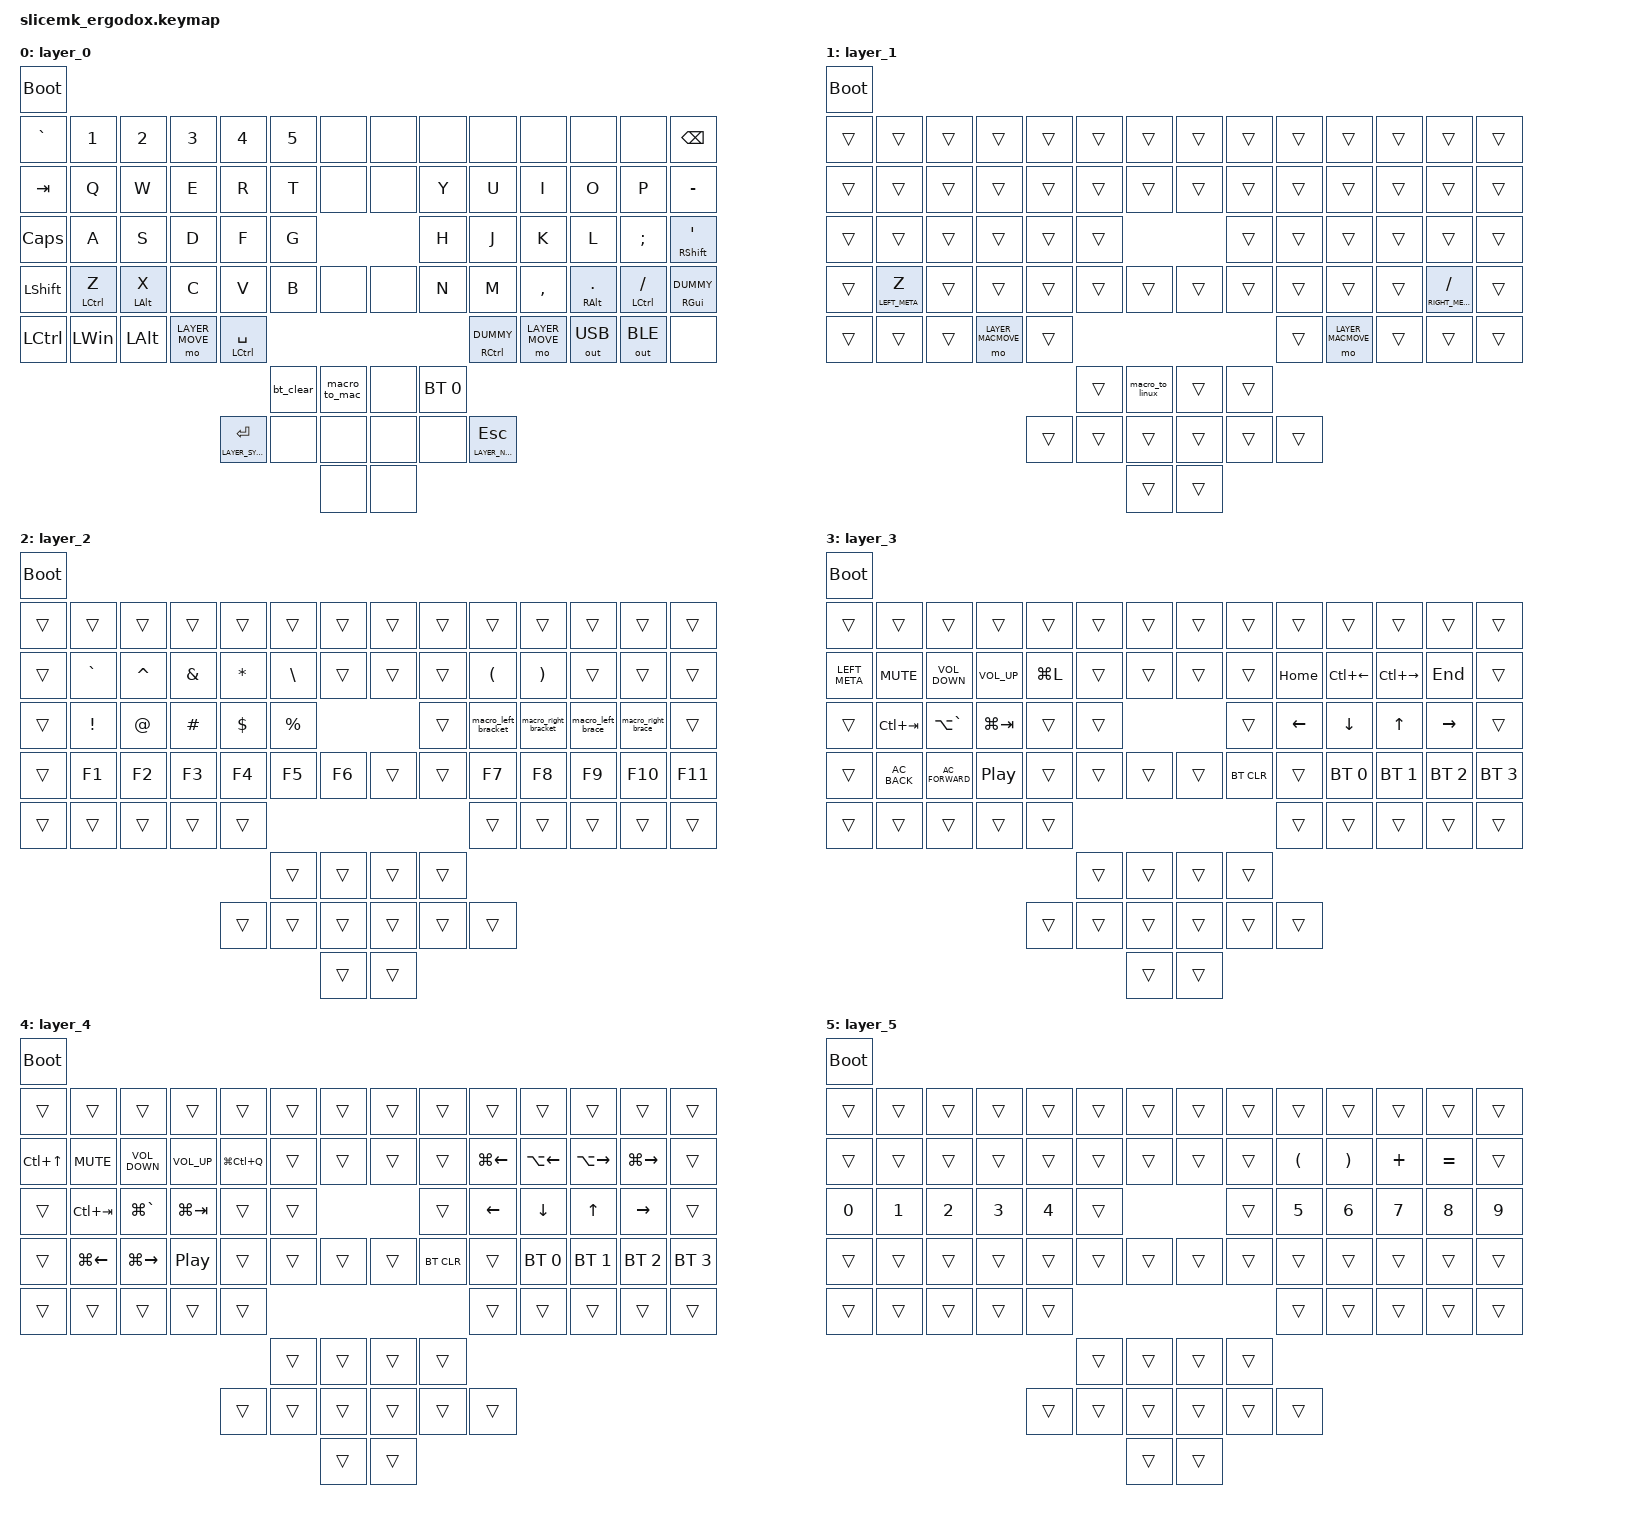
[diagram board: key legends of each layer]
#include <behaviors.dtsi>
#include <dt-bindings/zmk/bt.h>
#include <dt-bindings/zmk/keys.h>
#include <dt-bindings/zmk/outputs.h>

#define LAYER_MAIN 0
#define LAYER_MAC 1
#define LAYER_SYMBOLS 2
#define LAYER_MOVE 3
#define LAYER_MACMOVE 4
#define LAYER_NUMBERS 5
#define DUMMY 0

//    ┌─────┐                                                                                  
//    │     │                                                                                  
//    ├─────┼─────┬─────┬─────┬─────┬─────┬─────┐   ┌─────┬─────┬─────┬─────┬─────┬─────┬─────┐
//    │  1  │  2  │  3  │  4  │  5  │  6  │  7  │   │  8  │  9  │  10 │  11 │  12 │  13 │  14 │
//    ├─────┼─────┼─────┼─────┼─────┼─────┼─────┤   ├─────┼─────┼─────┼─────┼─────┼─────┼─────┤
//    │  15 │  16 │  17 │  18 │  19 │  20 │  21 │   │  22 │  23 │  24 │  25 │  26 │  27 │  28 │
//    ├─────┼─────┼─────┼─────┼─────┼─────┼─────┘   └─────┼─────┼─────┼─────┼─────┼─────┼─────┤
//    │  29 │  30 │  31 │  32 │  33 │  34 │               │  35 │  36 │  37 │  38 │  39 │  40 │
//    ├─────┼─────┼─────┼─────┼─────┼─────┼─────┐   ┌─────┼─────┼─────┼─────┼─────┼─────┼─────┤
//    │  41 │  42 │  43 │  44 │  45 │  46 │  47 │   │  48 │  49 │  50 │  51 │  52 │  53 │  54 │
//    ├─────┼─────┼─────┼─────┼─────┼─────┴─────┘   └─────┴─────┼─────┼─────┼─────┼─────┼─────┤
//    │  55 │  56 │  57 │  58 │  59 │                           │  60 │  61 │  62 │  63 │  64 │
//    └─────┴─────┴─────┴─────┴─────┼─────┬─────┐   ┌─────┬─────┼─────┴─────┴─────┴─────┴─────┘
//                                  │  65 │  66 │   │  67 │  68 │                              
//                            ┌─────┼─────┼─────┤   ├─────┼─────┼─────┐                        
//                            │  69 │  70 │  71 │   │  72 │  73 │  74 │                        
//                            └─────┴─────┼─────┤   ├─────┼─────┴─────┘                        
//                                        │  75 │   │  76 │                                    
//                                        └─────┘   └─────┘                                    

&lt {
    flavor = "balanced";
    tapping_term_ms = <220>;
};

&sl { /delete-property/ quick-release; };

/ {
    macros {
        // I introduced these for a reason but I can't remember why. They were for when I had dedicated keys for braces/brackets.

        ZMK_MACRO(macro_right_brace,

        wait-ms = <0>;
        tap-ms = <0>;
        bindings = <&macro_tap &kp RIGHT_BRACE>;

        )
		ZMK_MACRO(

        macro_left_brace,
        wait-ms = <0>;
        tap-ms = <0>;
        bindings = <&macro_tap &kp LEFT_BRACE>;

        )
		ZMK_MACRO(

        macro_right_bracket,
        wait-ms = <0>;
        tap-ms = <0>;
        bindings = <&macro_tap &kp RIGHT_BRACKET>;

        )
		ZMK_MACRO(

        macro_left_bracket,
        wait-ms = <0>;
        tap-ms = <0>;
        bindings = <&macro_tap &kp LEFT_BRACKET>;

        )

		ZMK_MACRO(

        macro_to_mac,
        wait-ms = <0>;
        tap-ms = <5>;
        bindings = <&to LAYER_MAC &rgb_ug RGB_COLOR_HSB(128,100,100) &rgb_ug RGB_TOG &bl BL_TOG>;

        )
		ZMK_MACRO(

        macro_to_linux,
        wait-ms = <0>;
        tap-ms = <5>;
        bindings = <&to LAYER_MAIN &rgb_ug RGB_TOG &bl BL_TOG>;

        )
		ZMK_MACRO1(

        macro_left_shift_hold,
        wait-ms = <0>;
        tap-ms = <0>;
        bindings =
            <&macro_tap &sk LSHIFT>,
            <&macro_param_1to1>,
            <&macro_press &kp MACRO_PLACEHOLDER>,
            <&macro_pause_for_release>,
            <&macro_param_1to1>,
            <&macro_release &kp MACRO_PLACEHOLDER>;

        )
		ZMK_MACRO1(

        macro_num_hold,
        wait-ms = <0>;
        tap-ms = <0>;
        bindings =
            <&macro_tap &sl LAYER_NUMBERS>,
            <&macro_param_1to1>,
            <&macro_press &kp MACRO_PLACEHOLDER>,
            <&macro_pause_for_release>,
            <&macro_param_1to1>,
            <&macro_release &kp MACRO_PLACEHOLDER>;

        )
		ZMK_MACRO1(

        macro_sym_hold,
        wait-ms = <0>;
        tap-ms = <0>;
        bindings =
            <&macro_tap &sl LAYER_SYMBOLS>,
            <&macro_param_1to1>,
            <&macro_press &kp MACRO_PLACEHOLDER>,
            <&macro_pause_for_release>,
            <&macro_param_1to1>,
            <&macro_release &kp MACRO_PLACEHOLDER>;

        )
    };

    behaviors {
        bt_clear: bt_clear {
            compatible = "zmk,behavior-tap-dance";
            label = "BT_CLEAR";
            tapping-term-ms = <200>;
            #binding-cells = <0>;
            bindings = <&none>, <&none>, <&bt BT_CLR>;
        };

        bspc_del: backspace_delete {
            compatible = "zmk,behavior-mod-morph";
            label = "BACKSPACE_DELETE";
            #binding-cells = <0>;
            bindings = <&kp BACKSPACE>, <&kp DELETE>;

            mods = <(MOD_LSFT|MOD_RSFT)>;
        };

        // You cannot directly use a behavior with &lt so we need to express it as a new behavior.

        lt_bspc: layer_tap_bspc_del {
            compatible = "zmk,behavior-hold-tap";
            label = "LAYER_TAP_BACKSPACE_DELETE";

            // hold-tap requires two parameters no matter what behaviors you intend for them to trigger
            // so when you bind this you'll need a dummy placeholder for the second binding cell

            #binding-cells = <2>;
            bindings = <&mo>, <&bspc_del>;

            tapping-term-ms = <200>;
        };

        caps_tap: caps_tap {
            compatible = "zmk,behavior-hold-tap";
            label = "CAPS_TAP";

            // hold-tap requires two parameters no matter what behaviors you intend for them to trigger
            // so when you bind this you'll need a dummy placeholder for the second binding cell

            #binding-cells = <2>;
            bindings = <&kp>, <&caps_word>;

            tapping-term-ms = <200>;
            flavor = "tap-preferred";
        };

        hm: homerow_mods {
            compatible = "zmk,behavior-hold-tap";
            #binding-cells = <2>;
            label = "HOMEROW_MOD";
            tapping-term-ms = <200>;
            quick-tap-ms = <200>;

            // require-prior-idle-ms = <125>; need to upgrade version

            flavor = "tap-preferred";
            bindings = <&kp>, <&kp>;
        };

        mod_or_del: mod_or_del {
            compatible = "zmk,behavior-hold-tap";
            #binding-cells = <2>;
            label = "MOD_OR_DELETE";
            tapping-term-ms = <200>;
            quick-tap-ms = <200>;

            // require-prior-idle-ms = <125>; need to upgrade version

            flavor = "tap-preferred";
            bindings = <&kp>, <&bspc_del>;
        };

        om: outer_mods {
            compatible = "zmk,behavior-hold-tap";
            #binding-cells = <2>;
            label = "OUTER_MOD";
            tapping-term-ms = <200>;
            quick-tap-ms = <200>;

            // require-prior-idle-ms = <125>; need to upgrade version

            flavor = "balanced";
            bindings = <&kp>, <&kp>;
        };

        ctrl_or_shift: control_or_shift {
            compatible = "zmk,behavior-tap-dance";
            #binding-cells = <0>;
            label = "CONTROL_OR_SHIFT";
            tapping-term-ms = <250>;
            bindings = <&kp LEFT_SHIFT>, <&kp LEFT_CONTROL>, <&none>;
        };

        right_ctrl: right_control {
            compatible = "zmk,behavior-tap-dance";
            #binding-cells = <0>;
            label = "RIGHT_CONTROL";
            tapping-term-ms = <200>;
            bindings =
                <&macro_left_shift_hold LEFT_SHIFT>,
                <&kp RIGHT_CONTROL>,
                <&none>;
        };

        ht_in_td: hold_tap_in_tap_dance {
            compatible = "zmk,behavior-hold-tap";
            #binding-cells = <2>;
            label = "HOLD_TAP_IN_TAP_DANCE";
            tapping-term-ms = <1>; // The tap dance should provide the time needed to press both keys
            flavor = "hold-preferred";
            bindings = <&kp>, <&kp>;
        };
    };

    combo {
        compatible = "zmk,combos";

        // This combination of macro_left_shift_hold and partial_hold_position requires that the parameter
        // for partial_hold_position must be the key that you're actually holding down so that the partial hold is actually released when you let go of that key. 

        combo_apost {
            timeout-ms = <50>;
            key-positions = <29 40>;
            bindings =
                <&macro_left_shift_hold APOSTROPHE>,
                <&partial_hold_position 29>;
        };

        combo_Q {
            timeout-ms = <50>;
            key-positions = <16 40>;
            bindings = <&macro_left_shift_hold Q>; // Add the wait to prevent triggering the apostrophe
        };

        combo_W {
            timeout-ms = <50>;
            key-positions = <17 40>;
            bindings = <&macro_left_shift_hold W>;
        };

        combo_E {
            timeout-ms = <50>;
            key-positions = <18 40>;
            bindings = <&macro_left_shift_hold E>;
        };

        combo_R {
            timeout-ms = <50>;
            key-positions = <19 40>;
            bindings = <&macro_left_shift_hold R>;
        };

        combo_T {
            timeout-ms = <50>;
            key-positions = <20 40>;
            bindings = <&macro_left_shift_hold T>;
        };

        combo_Y {
            timeout-ms = <50>;
            key-positions = <23 29>;
            bindings = <&macro_left_shift_hold Y>, <&partial_hold_position 29>;
        };

        combo_U {
            timeout-ms = <50>;
            key-positions = <24 29>;
            bindings = <&macro_left_shift_hold U>, <&partial_hold_position 29>;
        };

        combo_I {
            timeout-ms = <50>;
            key-positions = <25 29>;
            bindings = <&macro_left_shift_hold I>, <&partial_hold_position 29>;
        };

        combo_O {
            timeout-ms = <50>;
            key-positions = <26 29>;
            bindings = <&macro_left_shift_hold O>, <&partial_hold_position 29>;
        };

        combo_P {
            timeout-ms = <50>;
            key-positions = <27 29>;
            bindings = <&macro_left_shift_hold P>, <&partial_hold_position 29>;
        };

        // I use the left shift with the partial_hold_position since the right shift will trigger an apostrophe.

        combo_A {
            timeout-ms = <50>;
            key-positions = <30 40>;
            bindings = <&macro_left_shift_hold A>;
        };

        combo_S {
            timeout-ms = <50>;
            key-positions = <40 31>;
            bindings = <&macro_left_shift_hold S>;
        };

        combo_D {
            timeout-ms = <50>;
            key-positions = <40 32>;
            bindings = <&macro_left_shift_hold D>;
        };

        combo_F {
            timeout-ms = <50>;
            key-positions = <40 33>;
            bindings = <&macro_left_shift_hold F>;
        };

        combo_G {
            timeout-ms = <50>;
            key-positions = <40 34>;
            bindings = <&macro_left_shift_hold G>;
        };

        combo_Enter {
            timeout-ms = <50>;
            key-positions = <40 69>;
            bindings = <&macro_left_shift_hold ENTER>;
        };

        combo_colon {
            timeout-ms = <50>;
            key-positions = <40 39>;
            bindings = <&kp LS(SEMICOLON)>;
        };

        combo_H {
            timeout-ms = <50>;
            key-positions = <29 35>;
            bindings = <&macro_left_shift_hold H>, <&partial_hold_position 29>;
        };

        combo_J {
            timeout-ms = <50>;
            key-positions = <29 36>;
            bindings = <&macro_left_shift_hold J>, <&partial_hold_position 29>;
        };

        combo_K {
            timeout-ms = <50>;
            key-positions = <29 37>;
            bindings = <&macro_left_shift_hold K>, <&partial_hold_position 29>;
        };

        combo_L {
            timeout-ms = <50>;
            key-positions = <29 38>;
            bindings = <&macro_left_shift_hold L>, <&partial_hold_position 29>;
        };

        combo_Z {
            timeout-ms = <50>;
            key-positions = <40 42>;
            bindings = <&macro_left_shift_hold Z>;
        };

        combo_X {
            timeout-ms = <50>;
            key-positions = <40 43>;
            bindings = <&macro_left_shift_hold X>;
        };

        combo_C {
            timeout-ms = <50>;
            key-positions = <40 44>;
            bindings = <&macro_left_shift_hold C>;
        };

        combo_V {
            timeout-ms = <50>;
            key-positions = <40 45>;
            bindings = <&macro_left_shift_hold V>;
        };

        combo_B {
            timeout-ms = <50>;
            key-positions = <40 46>;
            bindings = <&macro_left_shift_hold B>;
        };

        combo_N {
            timeout-ms = <50>;
            key-positions = <29 49>;
            bindings = <&macro_left_shift_hold N>, <&partial_hold_position 29>;
        };

        combo_M {
            timeout-ms = <50>;
            key-positions = <29 50>;
            bindings = <&macro_left_shift_hold M>, <&partial_hold_position 29>;
        };

        combo_less_than {
            timeout-ms = <50>;
            key-positions = <29 51>;
            bindings = <&macro_left_shift_hold LT>, <&partial_hold_position 29>;
        };

        combo_greater_than {
            timeout-ms = <50>;
            key-positions = <29 52>;
            bindings = <&macro_left_shift_hold GT>, <&partial_hold_position 29>;
        };

        combo_lparen {
            timeout-ms = <50>;
            key-positions = <24 74>;
            bindings =
                <&macro_num_hold LPAR>,
                <&partial_hold_position 74 &mo LAYER_NUMBERS>;
        };

        combo_rparen {
            timeout-ms = <50>;
            key-positions = <25 74>;
            bindings =
                <&macro_num_hold RPAR>,
                <&partial_hold_position 74 &mo LAYER_NUMBERS>;
        };

        combo_lparen2 {
            timeout-ms = <50>;
            key-positions = <24 69>;
            bindings =
                <&macro_num_hold LPAR>,
                <&partial_hold_position 69 &mo LAYER_NUMBERS>;
        };

        combo_rparen2 {
            timeout-ms = <50>;
            key-positions = <25 69>;
            bindings =
                <&macro_num_hold RPAR>,
                <&partial_hold_position 69 &mo LAYER_NUMBERS>;
        };

        combo_lbracket {
            timeout-ms = <50>;
            key-positions = <36 69>;
            bindings =
                <&macro_sym_hold LBKT>,
                <&partial_hold_position 69 &mo LAYER_SYMBOLS>;
        };

        combo_rbracket {
            timeout-ms = <50>;
            key-positions = <37 69>;
            bindings =
                <&macro_sym_hold RBKT>,
                <&partial_hold_position 69 &mo LAYER_SYMBOLS>;
        };

        combo_lbrace {
            timeout-ms = <50>;
            key-positions = <38 69>;
            bindings =
                <&macro_sym_hold LBRC>,
                <&partial_hold_position 69 &mo LAYER_SYMBOLS>;
        };

        combo_rbrace {
            timeout-ms = <50>;
            key-positions = <39 69>;
            bindings =
                <&macro_sym_hold RBRC>,
                <&partial_hold_position 69 &mo LAYER_SYMBOLS>;
        };

        combo_0 {
            timeout-ms = <50>;
            key-positions = <29 74>;
            bindings =
                <&macro_num_hold NUMBER_0>,
                <&partial_hold_position 74 &mo LAYER_NUMBERS>;
        };

        combo_1 {
            timeout-ms = <50>;
            key-positions = <30 74>;
            bindings =
                <&macro_num_hold NUMBER_1>,
                <&partial_hold_position 74 &mo LAYER_NUMBERS>;
        };

        combo_2 {
            timeout-ms = <50>;
            key-positions = <31 74>;
            bindings =
                <&macro_num_hold NUMBER_2>,
                <&partial_hold_position 74 &mo LAYER_NUMBERS>;
        };

        combo_3 {
            timeout-ms = <50>;
            key-positions = <32 74>;
            bindings =
                <&macro_num_hold NUMBER_3>,
                <&partial_hold_position 74 &mo LAYER_NUMBERS>;
        };

        combo_4 {
            timeout-ms = <50>;
            key-positions = <33 74>;
            bindings =
                <&macro_num_hold NUMBER_4>,
                <&partial_hold_position 74 &mo LAYER_NUMBERS>;
        };

        combo_5 {
            timeout-ms = <50>;
            key-positions = <36 74>;
            bindings =
                <&macro_num_hold NUMBER_5>,
                <&partial_hold_position 74 &mo LAYER_NUMBERS>;
        };

        combo_6 {
            timeout-ms = <50>;
            key-positions = <37 74>;
            bindings =
                <&macro_num_hold NUMBER_6>,
                <&partial_hold_position 74 &mo LAYER_NUMBERS>;
        };

        combo_7 {
            timeout-ms = <50>;
            key-positions = <38 74>;
            bindings =
                <&macro_num_hold NUMBER_7>,
                <&partial_hold_position 74 &mo LAYER_NUMBERS>;
        };

        combo_8 {
            timeout-ms = <50>;
            key-positions = <39 74>;
            bindings =
                <&macro_num_hold NUMBER_8>,
                <&partial_hold_position 74 &mo LAYER_NUMBERS>;
        };

        combo_9 {
            timeout-ms = <50>;
            key-positions = <40 74>;
            bindings =
                <&macro_num_hold NUMBER_9>,
                <&partial_hold_position 74 &mo LAYER_NUMBERS>;
        };

        combo_minus {
            timeout-ms = <50>;
            key-positions = <29 28>;
            bindings =
                <&macro_left_shift_hold MINUS>,
                <&partial_hold_position 29>;
        };

        combo_plus {
            timeout-ms = <50>;
            key-positions = <26 74>;
            bindings =
                <&macro_num_hold PLUS>,
                <&partial_hold_position 74 &mo LAYER_NUMBERS>;
        };

        combo_equal {
            timeout-ms = <50>;
            key-positions = <27 74>;
            bindings =
                <&macro_num_hold EQUAL>,
                <&partial_hold_position 74 &mo LAYER_NUMBERS>;
        };

        combo_exclam {
            timeout-ms = <50>;
            key-positions = <30 69>;
            bindings =
                <&kp EXCLAMATION>,
                <&partial_hold_position 69 &mo LAYER_SYMBOLS>;
        };

        combo_at {
            timeout-ms = <50>;
            key-positions = <31 69>;
            bindings = <&kp AT>, <&partial_hold_position 69 &mo LAYER_SYMBOLS>;
        };

        combo_pound {
            timeout-ms = <50>;
            key-positions = <32 69>;
            bindings =
                <&kp POUND>,
                <&partial_hold_position 69 &mo LAYER_SYMBOLS>;
        };

        combo_dollar {
            timeout-ms = <50>;
            key-positions = <33 69>;
            bindings =
                <&kp DOLLAR>,
                <&partial_hold_position 69 &mo LAYER_SYMBOLS>;
        };

        combo_percent {
            timeout-ms = <100>; // I tend to miss the percent combo so give it more time.
            key-positions = <34 69>;
            bindings =
                <&kp PERCENT>,
                <&partial_hold_position 69 &mo LAYER_SYMBOLS>;
        };

        combo_grav {
            timeout-ms = <50>;
            key-positions = <16 69>;
            bindings =
                <&kp GRAV>,
                <&partial_hold_position 69 &mo LAYER_SYMBOLS>;
        };

        combo_tilde {
            timeout-ms = <50>;
            key-positions = <16 69 40>;
            bindings = <&kp TILDE>;
        };

        combo_caret {
            timeout-ms = <50>;
            key-positions = <17 69>;
            bindings =
                <&kp CARET>,
                <&partial_hold_position 69 &mo LAYER_SYMBOLS>;
        };

        combo_amp {
            timeout-ms = <50>;
            key-positions = <18 69>;
            bindings =
                <&kp AMPERSAND>,
                <&partial_hold_position 69 &mo LAYER_SYMBOLS>;
        };

        combo_ast {
            timeout-ms = <50>;
            key-positions = <19 69>;
            bindings =
                <&kp ASTERISK>,
                <&partial_hold_position 69 &mo LAYER_SYMBOLS>;
        };

        combo_question {
            timeout-ms = <50>;
            key-positions = <29 53>;
            bindings =
                <&macro_left_shift_hold FSLH>,
                <&partial_hold_position 29>;
        };

        combo_backslash {
            timeout-ms = <50>;
            key-positions = <20 69>;
            bindings =
                <&kp BACKSLASH>,
                <&partial_hold_position 69 &mo LAYER_SYMBOLS>;
        };

        combo_DelWord {
            timeout-ms = <50>;
            key-positions = <50 60>;
            bindings = <&kp LC(BACKSPACE)>;
            layers = <LAYER_MAIN>;
        };

        combo_MacDelWord {
            timeout-ms = <50>;
            key-positions = <50 60>;
            bindings = <&kp LA(BACKSPACE)>;
            layers = <LAYER_MAC>;
        };

        combo_linux_home {
            timeout-ms = <50>;
            key-positions = <61 24>;
            bindings = <&kp HOME>;
            layers = <LAYER_MAIN>;
        };

        combo_linux_left_word {
            timeout-ms = <50>;
            key-positions = <61 25>;
            bindings = <&kp LC(LEFT)>;
            layers = <LAYER_MAIN>;
        };

        combo_linux_right_word {
            timeout-ms = <50>;
            key-positions = <61 26>;
            bindings = <&kp LC(RIGHT)>;
            layers = <LAYER_MAIN>;
        };

        combo_linux_end {
            timeout-ms = <50>;
            key-positions = <61 27>;
            bindings = <&kp END>;
            layers = <LAYER_MAIN>;
        };

        combo_linux_switch_apps {
            timeout-ms = <50>;
            key-positions = <58 32>;
            bindings = <&kp LG(TAB)>;
            layers = <LAYER_MAIN>;
        };

        combo_linux_switch_windows {
            timeout-ms = <50>;
            key-positions = <58 31>;
            bindings = <&kp LA(GRAV)>;
            layers = <LAYER_MAIN>;
        };

        combo_linux_switch_tabs {
            timeout-ms = <50>;
            key-positions = <58 30>;
            bindings = <&kp LC(TAB)>;
            layers = <LAYER_MAIN>;
        };

        combo_mac_switch_apps {
            timeout-ms = <50>;
            key-positions = <58 32>;
            bindings = <&kp LG(TAB)>;
            layers = <LAYER_MAC>;
        };

        combo_mac_switch_windows {
            timeout-ms = <50>;
            key-positions = <58 31>;
            bindings = <&kp LG(GRAVE)>;
            layers = <LAYER_MAC>;
        };

        combo_mac_switch_tabs {
            timeout-ms = <50>;
            key-positions = <58 30>;
            bindings = <&kp LC(TAB)>;
            layers = <LAYER_MAC>;
        };

        combo_mac_home {
            timeout-ms = <50>;
            key-positions = <61 23>;
            bindings = <&kp LG(LEFT)>;
            layers = <LAYER_MAC>;
        };

        combo_mac_left_word {
            timeout-ms = <50>;
            key-positions = <61 24>;
            bindings = <&kp LA(LEFT)>;
            layers = <LAYER_MAC>;
        };

        combo_mac_right_word {
            timeout-ms = <50>;
            key-positions = <61 25>;
            bindings = <&kp LA(RIGHT)>;
            layers = <LAYER_MAC>;
        };

        combo_mac_end {
            timeout-ms = <50>;
            key-positions = <61 26>;
            bindings = <&kp LG(RIGHT)>;
            layers = <LAYER_MAC>;
        };
    };

    keymap {
        compatible = "zmk,keymap";

        layer_0 {
            bindings = <
&bootloader
&kp GRAVE       &kp NUMBER_1        &kp NUMBER_2  &kp NUMBER_3    &kp NUMBER_4             &kp NUMBER_5  &none            &none  &none         &none                            &none           &none         &none                  &kp BACKSPACE
&kp TAB         &kp Q               &kp W         &kp E           &kp R                    &kp T         &none            &none  &kp Y         &kp U                            &kp I           &kp O         &kp P                  &kp MINUS
&kp CAPSLOCK    &kp A               &kp S         &kp D           &kp F                    &kp G                                 &kp H         &kp J                            &kp K           &kp L         &kp SEMICOLON          &om RIGHT_SHIFT APOSTROPHE
&kp LEFT_SHIFT  &hm LEFT_CONTROL Z  &hm LALT X    &kp C           &kp V                    &kp B         &none            &none  &kp N         &kp M                            &kp COMMA       &hm RALT DOT  &hm LEFT_CONTROL FSLH  &caps_tap RIGHT_GUI DUMMY
&kp LCTRL       &kp LEFT_WIN        &kp LEFT_ALT  &mo LAYER_MOVE  &hm LEFT_CONTROL SPACE                                                       &mod_or_del RIGHT_CONTROL DUMMY  &mo LAYER_MOVE  &out OUT_USB  &out OUT_BLE           &none
                                                                                           &bt_clear     &macro_to_mac    &none  &bt BT_SEL 0
                                                                  &lt LAYER_SYMBOLS ENTER  &none         &none            &none  &none         &lt LAYER_NUMBERS ESCAPE
                                                                                                         &none            &none
            >;
        };

        layer_1 {
            bindings = <
&bootloader
&trans       &trans           &trans  &trans             &trans  &trans  &trans             &trans  &trans  &trans  &trans             &trans  &trans               &trans
&trans       &trans           &trans  &trans             &trans  &trans  &trans             &trans  &trans  &trans  &trans             &trans  &trans               &trans
&trans       &trans           &trans  &trans             &trans  &trans                             &trans  &trans  &trans             &trans  &trans               &trans
&trans       &hm LEFT_META Z  &trans  &trans             &trans  &trans  &trans             &trans  &trans  &trans  &trans             &trans  &hm RIGHT_META FSLH  &trans
&trans       &trans           &trans  &mo LAYER_MACMOVE  &trans                                             &trans  &mo LAYER_MACMOVE  &trans  &trans               &trans
                                                                 &trans  &macro_to_linux    &trans  &trans
                                                         &trans  &trans  &trans             &trans  &trans  &trans
                                                                         &trans             &trans
            >;
        };

        layer_2 {
            bindings = <
&bootloader
&trans       &trans           &trans       &trans         &trans        &trans         &trans    &trans  &trans  &trans                &trans                 &trans             &trans              &trans
&trans       &kp GRAV         &kp CARET    &kp AMPERSAND  &kp ASTERISK  &kp BACKSLASH  &trans    &trans  &trans  &kp LEFT_PARENTHESIS  &kp RIGHT_PARENTHESIS  &trans             &trans              &trans
&trans       &kp EXCLAMATION  &kp AT_SIGN  &kp HASH       &kp DOLLAR    &kp PERCENT                      &trans  &macro_left_bracket   &macro_right_bracket   &macro_left_brace  &macro_right_brace  &trans
&trans       &kp F1           &kp F2       &kp F3         &kp F4        &kp F5         &kp F6    &trans  &trans  &kp F7                &kp F8                 &kp F9             &kp F10             &kp F11
&trans       &trans           &trans       &trans         &trans                                                 &trans                &trans                 &trans             &trans              &trans
                                                                        &trans         &trans    &trans  &trans
                                                          &trans        &trans         &trans    &trans  &trans  &trans
                                                                                       &trans    &trans
            >;
        };

        layer_3 {
            bindings = <
&bootloader
&trans         &trans         &trans             &trans            &trans     &trans  &trans    &trans  &trans      &trans          &trans          &trans         &trans           &trans
&kp LEFT_META  &kp C_MUTE     &kp C_VOLUME_DOWN  &kp C_VOLUME_UP   &kp LG(L)  &trans  &trans    &trans  &trans      &kp HOME        &kp LC(LEFT)    &kp LC(RIGHT)  &kp END          &trans
&trans         &kp LC(TAB)    &kp LA(GRAV)       &kp LG(TAB)       &trans     &trans                    &trans      &kp LEFT_ARROW  &kp DOWN_ARROW  &kp UP_ARROW   &kp RIGHT_ARROW  &trans
&trans         &kp C_AC_BACK  &kp C_AC_FORWARD   &kp C_PLAY_PAUSE  &trans     &trans  &trans    &trans  &bt BT_CLR  &trans          &bt BT_SEL 0    &bt BT_SEL 1   &bt BT_SEL 2     &bt BT_SEL 3
&trans         &trans         &trans             &trans            &trans                                           &trans          &trans          &trans         &trans           &trans
                                                                              &trans  &trans    &trans  &trans
                                                                   &trans     &trans  &trans    &trans  &trans      &trans
                                                                                      &trans    &trans
            >;
        };

        layer_4 {
            bindings = <
&bootloader
&trans       &trans        &trans             &trans            &trans         &trans  &trans    &trans  &trans      &trans          &trans          &trans         &trans           &trans
&kp LC(UP)   &kp C_MUTE    &kp C_VOLUME_DOWN  &kp C_VOLUME_UP   &kp LG(LC(Q))  &trans  &trans    &trans  &trans      &kp LG(LEFT)    &kp LA(LEFT)    &kp LA(RIGHT)  &kp LG(RIGHT)    &trans
&trans       &kp LC(TAB)   &kp LG(GRAVE)      &kp LG(TAB)       &trans         &trans                    &trans      &kp LEFT_ARROW  &kp DOWN_ARROW  &kp UP_ARROW   &kp RIGHT_ARROW  &trans
&trans       &kp LG(LEFT)  &kp LG(RIGHT)      &kp C_PLAY_PAUSE  &trans         &trans  &trans    &trans  &bt BT_CLR  &trans          &bt BT_SEL 0    &bt BT_SEL 1   &bt BT_SEL 2     &bt BT_SEL 3
&trans       &trans        &trans             &trans            &trans                                               &trans          &trans          &trans         &trans           &trans
                                                                               &trans  &trans    &trans  &trans
                                                                &trans         &trans  &trans    &trans  &trans      &trans
                                                                                       &trans    &trans
            >;
        };

        layer_5 {
            bindings = <
&bootloader
&trans        &trans        &trans        &trans        &trans        &trans  &trans    &trans  &trans  &trans                &trans                 &trans        &trans        &trans
&trans        &trans        &trans        &trans        &trans        &trans  &trans    &trans  &trans  &kp LEFT_PARENTHESIS  &kp RIGHT_PARENTHESIS  &kp PLUS      &kp EQUAL     &trans
&kp NUMBER_0  &kp NUMBER_1  &kp NUMBER_2  &kp NUMBER_3  &kp NUMBER_4  &trans                    &trans  &kp NUMBER_5          &kp NUMBER_6           &kp NUMBER_7  &kp NUMBER_8  &kp NUMBER_9
&trans        &trans        &trans        &trans        &trans        &trans  &trans    &trans  &trans  &trans                &trans                 &trans        &trans        &trans
&trans        &trans        &trans        &trans        &trans                                          &trans                &trans                 &trans        &trans        &trans
                                                                      &trans  &trans    &trans  &trans
                                                        &trans        &trans  &trans    &trans  &trans  &trans
                                                                              &trans    &trans
            >;
        };
    };
};
